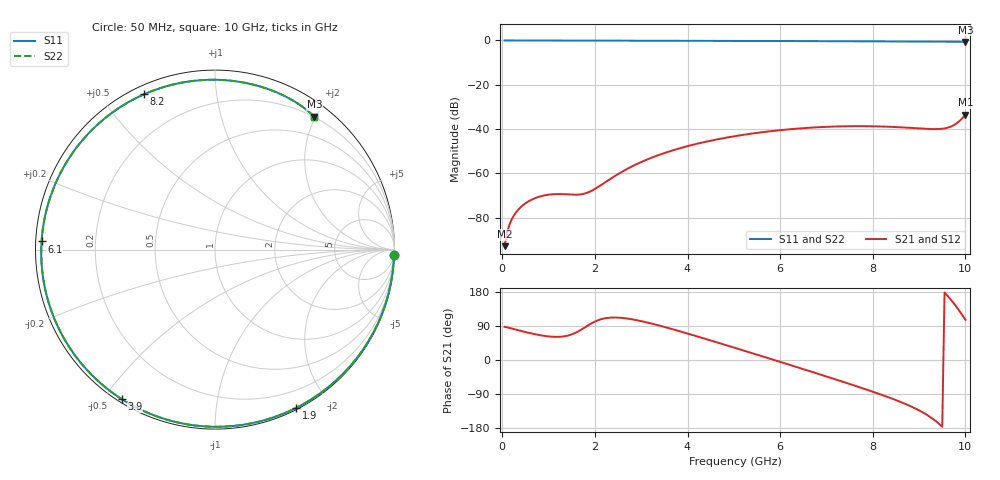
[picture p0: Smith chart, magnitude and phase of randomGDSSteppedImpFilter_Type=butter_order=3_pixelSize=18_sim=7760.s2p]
! freq	dB(S11)	phase(S11)	dB(S12)	phase(S12)
!  dB(S21)	phase(S21)	dB(S22)	phase(S22)
!S-par simulation data
#  GHz  S  DB  R 50
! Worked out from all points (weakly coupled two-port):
!   200 points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, 50 MHz to 10 GHz, reference 50 ohm
!   highest |S21| = -33.48 dB at 10 GHz (marker M1); lowest = -92.8 dB at 50 MHz (marker M2)
!   lowest |S11| = -0.7 dB at 10 GHz (marker M3), VSWR 25.54, Z = 9.7 + j99 ohm
!   |S11| at or under -10 dB: nowhere
!   |S22| runs from -0.7 to 0.0 dB; largest |S21 - S12| = 0
!   S11 on the Smith chart (normalised r, x): 50 MHz: 5, -67; 1.9 GHz: 0.02, -1.64; 3.9 GHz: 0.01, -0.55; 6.1 GHz: 0.02, +0.02; 8.2 GHz: 0.04, +0.64; 10 GHz: 0.19, +1.98
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0.05  -0.02 -1.7  -92.84 87.5  -92.84 87.5  -0.02 -1.7
0.2  -0.02 -6.8  -80.90 83.1  -80.90 83.1  -0.02 -6.8
0.45  -0.03 -15.3  -74.29 75.2  -74.29 75.2  -0.03 -15.3
0.8  -0.04 -27.0  -70.51 65.8  -70.51 65.8  -0.04 -27.0
1.1  -0.05 -37.0  -69.41 61.2  -69.41 61.2  -0.05 -37.0
1.75  -0.07 -58.1  -69.26 83.5  -69.26 83.5  -0.07 -58.1
1.9  -0.08 -62.8  -68.15 94.9  -68.15 94.9  -0.08 -62.8
2.65  -0.11 -85.9  -58.51 110.2  -58.51 110.2  -0.11 -85.9
3.4  -0.14 -107.8  -51.55 90.5  -51.55 90.5  -0.14 -107.8
3.9  -0.16 -122.0  -48.27 73.4  -48.27 73.4  -0.16 -122.0
4.5  -0.19 -138.6  -45.25 51.6  -45.25 51.6  -0.19 -138.6
5.05  -0.22 -153.7  -43.11 31.1  -43.11 31.1  -0.22 -153.7
5.6  -0.25 -168.8  -41.45 10.3  -41.45 10.3  -0.25 -168.8
6.1  -0.29 177.3  -40.29 -8.7  -40.29 -8.7  -0.29 177.3
6.7  -0.33 160.2  -39.32 -31.8  -39.32 -31.8  -0.33 160.2
7.45  -0.38 138.0  -38.72 -61.3  -38.72 -61.3  -0.38 138.0
8.2  -0.43 114.5  -38.85 -92.2  -38.85 -92.2  -0.43 114.5
8.35  -0.44 109.7  -38.96 -98.9  -38.96 -98.9  -0.44 109.7
8.95  -0.48 89.8  -39.65 -129.8  -39.65 -129.8  -0.48 89.8
9.55  -0.53 69.2  -39.70 177.9  -39.70 177.9  -0.53 69.2
9.8  -0.58 60.3  -37.59 141.6  -37.59 141.6  -0.58 60.3
10  -0.68 53.2  -33.48 106.0  -33.48 106.0  -0.68 53.2
